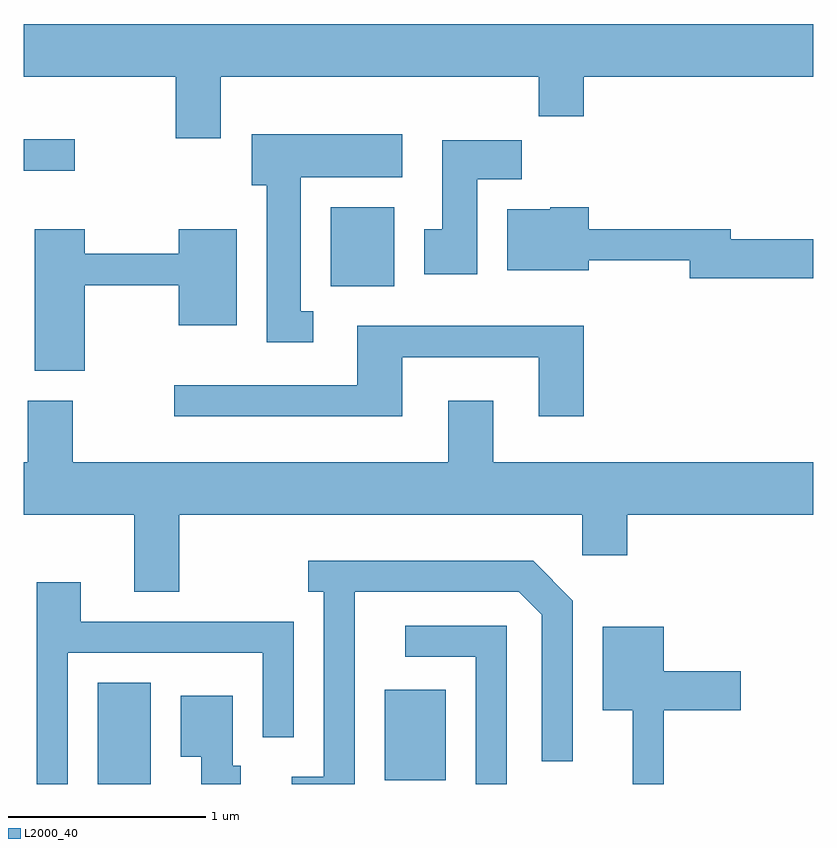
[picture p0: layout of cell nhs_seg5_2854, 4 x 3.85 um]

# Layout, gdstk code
import gdstk
lib = gdstk.Library(unit=1e-6, precision=1e-09)
def R(c, l, rs):  # rectangles x0, y0, x1, y1
    for r in rs: c.add(gdstk.rectangle(r[:2], r[2:], *l))
def P(c, l, *ps):  # polygons
    for p in ps: c.add(gdstk.Polygon(p, *l))
L2000_40 = (2000, 40)

nhs_seg5_2854 = lib.new_cell('nhs_seg5_2854')
R(nhs_seg5_2854, L2000_40, [(269.986,1482.072,270.254,1482.584), (271.441,1482.091,271.749,1482.549), (271.166,1484.596,271.489,1484.994), (269.611,1485.181,269.868,1485.339)])
P(nhs_seg5_2854, L2000_40, [(270.609,1485.656),(272.221,1485.656),(272.221,1485.456),(272.449,1485.456),(272.449,1485.656),(273.611,1485.656),(273.611,1485.924),(269.611,1485.924),(269.611,1485.656),(270.381,1485.656),(270.381,1485.346),(270.609,1485.346)],
  [(271.078,1484.469),(271.014,1484.469),(271.014,1485.146),(271.529,1485.146),(271.529,1485.364),(270.766,1485.364),(270.766,1485.106),(270.841,1485.106),(270.841,1484.311),(271.078,1484.311)],
  [(271.909,1485.136),(272.134,1485.136),(272.134,1485.334),(271.731,1485.334),(271.731,1484.884),(271.641,1484.884),(271.641,1484.656),(271.909,1484.656)],
  [(273.611,1484.834),(273.194,1484.834),(273.194,1484.884),(272.474,1484.884),(272.474,1484.994),(272.28,1484.994),(272.28,1484.984),(272.061,1484.984),(272.061,1484.676),(272.474,1484.676),(272.474,1484.726),(272.986,1484.726),(272.986,1484.636),(273.611,1484.636)],
  [(269.919,1484.601),(270.396,1484.601),(270.396,1484.396),(270.689,1484.396),(270.689,1484.884),(270.396,1484.884),(270.396,1484.759),(269.919,1484.759),(269.919,1484.884),(269.666,1484.884),(269.666,1484.166),(269.919,1484.166)],
  [(271.529,1484.236),(272.221,1484.236),(272.221,1483.936),(272.449,1483.936),(272.449,1484.394),(271.301,1484.394),(271.301,1484.094),(270.373,1484.094),(270.373,1483.936),(271.529,1483.936)],
  [(270.399,1483.436),(272.441,1483.436),(272.441,1483.231),(272.669,1483.231),(272.669,1483.436),(273.611,1483.436),(273.611,1483.704),(271.989,1483.704),(271.989,1484.014),(271.761,1484.014),(271.761,1483.704),(269.859,1483.704),(269.859,1484.014),(269.631,1484.014),(269.631,1483.704),(269.611,1483.704),(269.611,1483.436),(270.171,1483.436),(270.171,1483.046),(270.399,1483.046)],
  [(271.289,1483.046),(272.119,1483.046),(272.236,1482.929),(272.236,1482.188),(272.394,1482.188),(272.394,1483.002),(272.192,1483.204),(271.053,1483.204),(271.053,1483.046),(271.131,1483.046),(271.131,1482.109),(270.968,1482.109),(270.968,1482.072),(271.289,1482.072)],
  [(269.834,1482.736),(270.821,1482.736),(270.821,1482.308),(270.979,1482.308),(270.979,1482.894),(269.899,1482.894),(269.899,1483.094),(269.676,1483.094),(269.676,1482.072),(269.834,1482.072)],
  [(272.059,1482.874),(271.543,1482.874),(271.543,1482.716),(271.901,1482.716),(271.901,1482.072),(272.059,1482.072)],
  [(272.854,1482.446),(273.244,1482.446),(273.244,1482.644),(272.854,1482.644),(272.854,1482.869),(272.546,1482.869),(272.546,1482.446),(272.696,1482.446),(272.696,1482.072),(272.854,1482.072)],
  [(270.709,1482.164),(270.669,1482.164),(270.669,1482.519),(270.406,1482.519),(270.406,1482.211),(270.511,1482.211),(270.511,1482.072),(270.709,1482.072)])

lib.write_gds('nhs_seg5_2854.gds')
